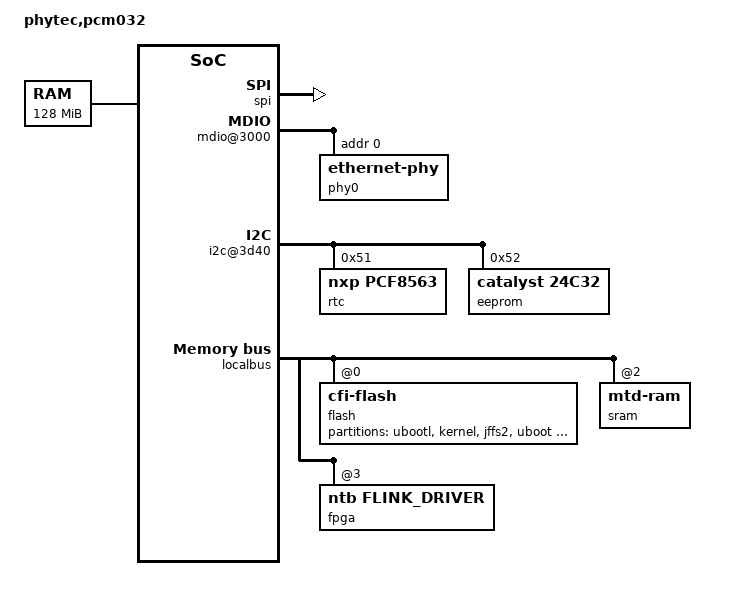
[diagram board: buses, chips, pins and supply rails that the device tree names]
/*
 * phyCORE-MPC5200B-IO (pcm032 on ntb c32 carrier board) board Device Tree Source
 *
 * Urs Graf <urs.graf@ntb.ch>, 2015
 *
 * This program is free software; you can redistribute  it and/or modify it
 * under  the terms of  the GNU General  Public License as published by the
 * Free Software Foundation;  either version 2 of the  License, or (at your
 * option) any later version.
 */

/include/ "mpc5200b.dtsi"				// included file is extended with the definitions in this file

/ {							// root node
	model = "phytec,pcm032";			// manufacturer (freescale), model
	compatible = "phytec,pcm032";			// specifies the name of the system

	memory {
		reg = <0x00000000 0x08000000>;		// 128MB
	};

	soc5200@f0000000 {
		timer@600 {				// General Purpose Timer
			fsl,has-wdt;			// GPT0 has a watchdog timer function
		};

		gpt2: timer@620 {			// General Purpose Timer in GPIO mode
			gpio-controller;
			#gpio-cells = <2>;
		};

		gpt3: timer@630 {			// General Purpose Timer in GPIO mode
			gpio-controller;
			#gpio-cells = <2>;
		};

		gpt4: timer@640 {			// General Purpose Timer in GPIO mode
			gpio-controller;
			#gpio-cells = <2>;
		};

		gpt5: timer@650 {			// General Purpose Timer in GPIO mode
			gpio-controller;
			#gpio-cells = <2>;
		};

		gpt6: timer@660 {			// General Purpose Timer in GPIO mode
			compatible = "fsl,mpc5200b-gpt","fsl,mpc5200-gpt";
			reg = <0x660 0x10>;
			interrupts = <1 15 0>;
			gpio-controller;
			#gpio-cells = <2>;
		};

		gpt7: timer@670 {			// General Purpose Timer in GPIO mode
			gpio-controller;
			#gpio-cells = <2>;
		};

//		spi@f00 {				// spi device node at rel. addr 0xf00		
//			could define flink_spi here if used for this purpose
//		};

		spi: psc@2000 {				// PSC1 port is SPI
			compatible = "fsl,mpc5200b-psc-spi","fsl,mpc5200-psc-spi";
			cell-index = <0>;		// is the first device of similar devices, spi bus number will be 1
//			could define flink_spi here if used for this purpose
		};

		psc@2200 {				// PSC2 port is used for CAN1/2
			status = "disabled";
		};

		psc@2400 { 				// PSC3 in UART mode 
			compatible = "fsl,mpc5200b-psc-uart","fsl,mpc5200-psc-uart";
		};

		psc@2600 {				// PSC4 is disabled
			status = "disabled";
		};

		psc@2800 {				// PSC5 is disabled
			status = "disabled";
		};

		psc@2c00 { 				// PSC6 in UART mode 
			compatible = "fsl,mpc5200b-psc-uart","fsl,mpc5200-psc-uart";
		};

		ethernet@3000 {
			phy-handle = <&phy0>;
		};

		mdio@3000 {
			phy0: ethernet-phy@0 {
				reg = <0>;
			};
		};

		i2c@3d40 {
			rtc@51 {
				compatible = "nxp,pcf8563";
				reg = <0x51>;
			};
			eeprom@52 {
				compatible = "catalyst,24c32";
				reg = <0x52>;
				pagesize = <32>;
			};
		};
	};

	pci@f0000d00 {
		interrupt-map-mask = <0xf800 0 0 7>;
		interrupt-map = <0xc000 0 0 1 &mpc5200_pic 0 0 3 // 1st slot
				 0xc000 0 0 2 &mpc5200_pic 1 1 3
				 0xc000 0 0 3 &mpc5200_pic 1 2 3
				 0xc000 0 0 4 &mpc5200_pic 1 3 3

				 0xc800 0 0 1 &mpc5200_pic 1 1 3 // 2nd slot
				 0xc800 0 0 2 &mpc5200_pic 1 2 3
				 0xc800 0 0 3 &mpc5200_pic 1 3 3
				 0xc800 0 0 4 &mpc5200_pic 0 0 3>;
		ranges = <0x42000000 0 0x80000000 0x80000000 0 0x20000000
			  0x02000000 0 0xa0000000 0xa0000000 0 0x10000000
			  0x01000000 0 0x00000000 0xb0000000 0 0x01000000>;
	};

	localbus {
		ranges = <0 0 0xfe000000 0x02000000	// CS0, maps 32MB to parent node (=root) addr 0xfe000000, rel. addr 0
			  1 0 0xfc000000 0x02000000	// CS1, maps 32MB to parent node (=root) addr 0xfc000000, rel. addr 0
			  2 0 0xfbe00000 0x00200000	// CS2, maps 2MB to parent node (=root) addr 0xfbe00000, rel. addr 0
			  3 0 0xf9e00000 0x02000000	// CS3, maps 32MB to parent node (=root) addr 0xf9e00000, rel. addr 0
			  4 0 0xf7e00000 0x02000000	// CS4, maps 32MB to parent node (=root) addr 0xf7e00000, rel. addr 0
			  5 0 0xe6000000 0x02000000	// CS5, maps 32MB to parent node (=root) addr 0xe6000000, rel. addr 0
			  6 0 0xe8000000 0x02000000	// CS6, maps 32MB to parent node (=root) addr 0xe8000000, rel. addr 0
			  7 0 0xea000000 0x02000000>;	// CS7, maps 32MB to parent node (=root) addr 0xea000000, rel. addr 0

		flash@0,0 {				// child node of localbus, at CS0, id = 0		
			compatible = "cfi-flash";
			reg = <0 0 0x02000000>;		// device flash@0,0 resides at relative address 0 of CS0 of 'localbus' with size 32MB
			bank-width = <4>;
			#size-cells = <1>;		// child nodes of flash will have 1 size field
			#address-cells = <1>;		// child nodes of flash will have 1 addr field

			partition@0 {
				label = "ubootl";
				reg = <0x00000000 0x00040000>;	// rel. start address, size 256kB
			};
			partition@40000 {
				label = "kernel";
				reg = <0x00040000 0x002c0000>;	// size 2816 kB
			};
			partition@200000 {
				label = "jffs2";
				reg = <0x00300000 0x01c00000>;	// size 28672 kB (28MB)
			};
			partition@1f00000 {
				label = "uboot";
				reg = <0x01f00000 0x00040000>;	// size 256kB
			};
			partition@1f40000 {
				label = "env";
				reg = <0x01f40000 0x00040000>;	// size 256kB
			};
			partition@1f80000 {
				label = "oftree";
				reg = <0x01f80000 0x00040000>;	// size 256kB
			};
			partition@1fc0000 {
				label = "space";
				reg = <0x01fc0000 0x00040000>;	// size 256kB
			};
		};

		sram@2,0 {				// child node of localbus for external ram, at CS2, id = 0
			compatible = "mtd-ram";
			reg = <2 0 0x00200000>;		// device sram@2,0 resides at relative address 0 of CS2 of 'localbus' with size 2MB
			bank-width = <2>;
		};

		
		fpga@3,0 {				// child node of localbus, at CS3, id = 0
			compatible = "ntb,flink_driver","fpga_driver_cs3";	// used for flink device
			reg = <3 0 0x02000000>;		// device fpga@3,0 resides at relative address 0 of CS3 of 'localbus' with size 32MB
			bank-width = <4>;
		};

		/*
		 * fpga@4,0 {
		 *	 compatible = "fpga_driver_cs4";
		 *	 reg = <4 0 0x02000000>;
		 *	 bank-width = <4>;
		 * };
		 */

		/*
		 * example snippets for free chipselects
		 *
		 * device@5,0 {
		 *	 compatible = "custom_driver";
		 *	 reg = <5 0 0x02000000>;
		 * };
		 *
		 * device@6,0 {
		 *	 compatible = "custom_driver";
		 *	 reg = <6 0 0x02000000>;
		 * };
		 *
		 * device@7,0 {
		 *	 compatible = "custom_driver";
		 *	 reg = <7 0 0x02000000>;
		 * };
		 */
	};
};
